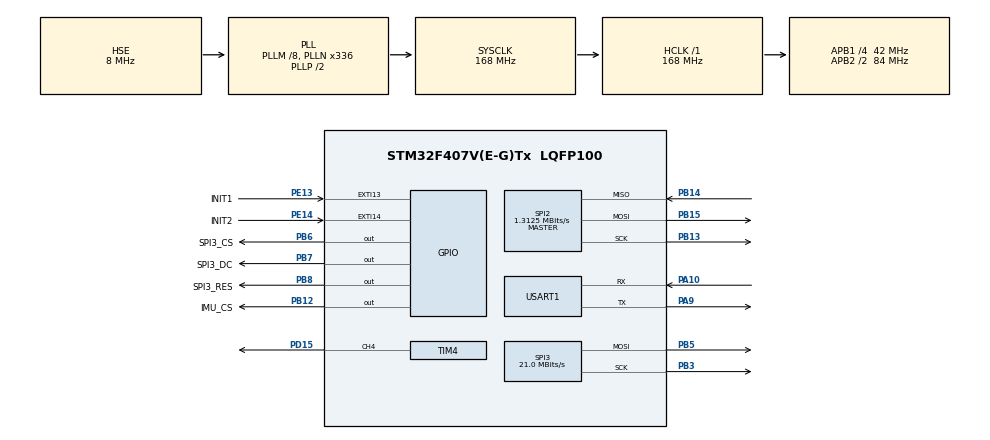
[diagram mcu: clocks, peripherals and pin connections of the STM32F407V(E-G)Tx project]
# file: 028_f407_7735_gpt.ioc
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Mcu.Family=STM32F4
Mcu.Name=STM32F407V(E-G)Tx
Mcu.Package=LQFP100
NVIC.EXTI15_10_IRQn=true\:0\:0\:false\:false\:true\:true\:true\:true
NVIC.PriorityGroup=NVIC_PRIORITYGROUP_4
PA10.Mode=Asynchronous
PA10.Signal=USART1_RX
PA13.Mode=Serial_Wire
PA13.Signal=SYS_JTMS-SWDIO
PA14.Mode=Serial_Wire
PA14.Signal=SYS_JTCK-SWCLK
PA9.Mode=Asynchronous
PA9.Signal=USART1_TX
PB12.GPIO_Label=IMU_CS
PB12.GPIO_PuPd=GPIO_PULLUP
PB12.GPIO_Speed=GPIO_SPEED_FREQ_VERY_HIGH
PB12.PinState=GPIO_PIN_SET
PB12.Signal=GPIO_Output
PB13.Mode=Full_Duplex_Master
PB13.Signal=SPI2_SCK
PB14.Mode=Full_Duplex_Master
PB14.Signal=SPI2_MISO
PB15.Mode=Full_Duplex_Master
PB15.Signal=SPI2_MOSI
PB3.Mode=TX_Only_Simplex_Unidirect_Master
PB3.Signal=SPI3_SCK
PB5.Mode=TX_Only_Simplex_Unidirect_Master
PB5.Signal=SPI3_MOSI
PB6.GPIO_Label=SPI3_CS
PB6.GPIO_Speed=GPIO_SPEED_FREQ_VERY_HIGH
PB6.PinState=GPIO_PIN_SET
PB6.Signal=GPIO_Output
PB7.GPIO_Label=SPI3_DC
PB7.GPIO_Speed=GPIO_SPEED_FREQ_VERY_HIGH
PB7.Signal=GPIO_Output
PB8.GPIO_Label=SPI3_RES
PB8.GPIO_Speed=GPIO_SPEED_FREQ_VERY_HIGH
PB8.PinState=GPIO_PIN_SET
PB8.Signal=GPIO_Output
PD15.Signal=S_TIM4_CH4
PE13.GPIO_Label=INIT1
PE13.Signal=GPXTI13
PE14.GPIO_Label=INIT2
PE14.Signal=GPXTI14
PH0-OSC_IN.Mode=HSE-External-Oscillator
PH0-OSC_IN.Signal=RCC_OSC_IN
PH1-OSC_OUT.Mode=HSE-External-Oscillator
PH1-OSC_OUT.Signal=RCC_OSC_OUT
ProjectManager.HeapSize=0x200
ProjectManager.StackSize=0x400
ProjectManager.TargetToolchain=STM32CubeIDE
RCC.48MHZClocksFreq_Value=48000000
RCC.AHBFreq_Value=168000000
RCC.APB1CLKDivider=RCC_HCLK_DIV4
RCC.APB1Freq_Value=42000000
RCC.APB1TimFreq_Value=84000000
RCC.APB2CLKDivider=RCC_HCLK_DIV2
RCC.APB2Freq_Value=84000000
RCC.APB2TimFreq_Value=168000000
RCC.CortexFreq_Value=168000000
RCC.HCLKFreq_Value=168000000
RCC.HSE_VALUE=8000000
RCC.HSI_VALUE=16000000
RCC.LSE_VALUE=32768
RCC.PLLM=8
RCC.PLLN=336
RCC.PLLQ=7
RCC.PLLSourceVirtual=RCC_PLLSOURCE_HSE
RCC.SYSCLKFreq_VALUE=168000000
RCC.SYSCLKSource=RCC_SYSCLKSOURCE_PLLCLK
RCC.VCOOutputFreq_Value=336000000
SH.S_TIM4_CH4.0=TIM4_CH4,PWM Generation4 CH4
SPI2.BaudRatePrescaler=SPI_BAUDRATEPRESCALER_32
SPI2.CLKPhase=SPI_PHASE_1EDGE
SPI2.CLKPolarity=SPI_POLARITY_LOW
SPI2.CalculateBaudRate=1.3125 MBits/s
SPI2.Direction=SPI_DIRECTION_2LINES
SPI2.Mode=SPI_MODE_MASTER
SPI2.VirtualType=VM_MASTER
SPI3.BaudRatePrescaler=SPI_BAUDRATEPRESCALER_2
SPI3.CalculateBaudRate=21.0 MBits/s
SPI3.Direction=SPI_DIRECTION_2LINES
SPI3.Mode=SPI_MODE_MASTER
SPI3.VirtualType=VM_MASTER
TIM4.Channel-PWM\ Generation4\ CH4=TIM_CHANNEL_4
TIM4.Period=999
TIM4.Prescaler=83
USART1.VirtualMode=VM_ASYNC
board=custom

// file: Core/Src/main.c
/* USER CODE BEGIN Header */
/**
  ******************************************************************************
  * @file           : main.c
  * @brief          : Main program body
  ******************************************************************************
  * @attention
  *
  * Copyright (c) 2026 STMicroelectronics.
  * All rights reserved.
  *
  * This software is licensed under terms that can be found in the LICENSE file
  * in the root directory of this software component.
  * If no LICENSE file comes with this software, it is provided AS-IS.
  *
  ******************************************************************************
  */
/* USER CODE END Header */
#include "main.h"
#include "spi.h"
#include "tim.h"
#include "usart.h"
#include "gpio.h"

/* USER CODE BEGIN Includes */
#include "lsm6dsv16x_reg.h"
#include <stdio.h>
#include "st7735.h"
#include "fonts.h"
#include <string.h>
#include "imu.h"
#include "imu_fifo.h"
#include "imu_sflp.h"
#include "display.h"
/* USER CODE END Includes */

/* USER CODE BEGIN PV */
volatile uint32_t drdy_cnt = 0;
volatile uint8_t accel_ready = 0;
volatile uint32_t accel_ready_cnt = 0;
/* USER CODE END PV */

void SystemClock_Config(void);

int main(void)
{

  /* MCU Configuration--------------------------------------------------------*/

  /* Reset of all peripherals, Initializes the Flash interface and the Systick. */
  HAL_Init();

  /* Configure the system clock */
  SystemClock_Config();

  /* Initialize all configured peripherals */
  MX_GPIO_Init();
  MX_USART1_UART_Init();
  MX_SPI3_Init();
  MX_TIM4_Init();
  MX_SPI2_Init();
  /* USER CODE BEGIN 2 */

    HAL_Delay(1);
    HAL_GPIO_WritePin(GPIOB, GPIO_PIN_12, GPIO_PIN_SET);
    HAL_Delay(1);

    // Запуск ШИМ для подсветки (обычно TIM_CHANNEL_1 или 2)
      HAL_TIM_PWM_Start(&htim4, TIM_CHANNEL_4);

      // Установка яркости на 100% (если период таймера равен 100 или 1000)
      __HAL_TIM_SET_COMPARE(&htim4, TIM_CHANNEL_4, 400);

    HAL_Delay(1);
    ST7735_Init();
    HAL_Delay(1);

    ST7735_FillScreen(ST7735_BLACK);

    imu_init();      // Настройка SPI и базовых параметров (ODR, FS)
    imu_sflp_init(); // Включение кватернионов и GBIAS

    // 1. Настройка маршрутизации прерывания на ножку INT1
  /*    lsm6dsv16x_pin_int_route_t pin_route = {0}; // Используем имя типа без цифры '1'
      // Мы говорим датчику: "Когда FIFO заполнится до Watermark, подай сигнал на INT1"
      pin_route.fifo_th = 1; // Прерывание по достижению Watermark
      lsm6dsv16x_pin_int1_route_set(&dev_ctx, &pin_route);

      // 2. Настройка того, ЧТО записывать в FIFO
      // Включаем запись данных акселерометра в FIFO (чтобы увидеть тег 02)
      lsm6dsv16x_fifo_xl_batch_set(&dev_ctx, LSM6DSV16X_XL_BATCHED_AT_120Hz);

      // --- ДОБАВЬТЕ ЭТИ СТРОКИ ДЛЯ TAG 13 ---
        uint8_t fifo_ctrl4 = 0x08; // Бит 3 отвечает за SFLP batching
        lsm6dsv16x_write_reg(&dev_ctx, 0x0A, &fifo_ctrl4, 1);
        // --------------------------------------

      // 3. Настройка FIFO (Watermark = 32, запуск режима STREAM)
      lsm6dsv16x_fifo_watermark_set(&dev_ctx, 32);
      lsm6dsv16x_fifo_mode_set(&dev_ctx, LSM6DSV16X_STREAM_MODE);
*/
    imu_fifo_init(&dev_ctx);

  /* USER CODE END 2 */
  /* Infinite loop */
    /* USER CODE BEGIN WHILE */
    uint32_t t_scr = 0;
    char d_buf[32];

    while (1)
      {
        if (fifo_irq)
        {
          fifo_irq = 0;
          imu_fifo_service(&dev_ctx); // Теперь строго внутри условия
        }

        if (HAL_GetTick() - t_scr >= 100)
        {
          t_scr = HAL_GetTick();

          // Заставляем SFLP проснуться
          uint8_t sflp_force = 0x0A;
          lsm6dsv16x_write_reg(&dev_ctx, 0x4B, &sflp_force, 1);

          display_update(imu_irq_cnt);

          uint8_t r4b_val = 0, r0a_val = 0;
          lsm6dsv16x_read_reg(&dev_ctx, 0x4B, &r4b_val, 1);
          lsm6dsv16x_read_reg(&dev_ctx, 0x0A, &r0a_val, 1);

          sprintf(d_buf, "R4B:%02X R0A:%02X", r4b_val, r0a_val);
          ST7735_WriteString(10, 110, d_buf, Font_7x10, ST7735_YELLOW, ST7735_BLACK);
        }

    /* USER CODE END WHILE */
      }

  }
void SystemClock_Config(void)
{
  RCC_OscInitTypeDef RCC_OscInitStruct = {0};
  RCC_ClkInitTypeDef RCC_ClkInitStruct = {0};

  /** Configure the main internal regulator output voltage
  */
  __HAL_RCC_PWR_CLK_ENABLE();
  __HAL_PWR_VOLTAGESCALING_CONFIG(PWR_REGULATOR_VOLTAGE_SCALE1);

  /** Initializes the RCC Oscillators according to the specified parameters
  * in the RCC_OscInitTypeDef structure.
  */
  RCC_OscInitStruct.OscillatorType = RCC_OSCILLATORTYPE_HSE;
  RCC_OscInitStruct.HSEState = RCC_HSE_ON;
  RCC_OscInitStruct.PLL.PLLState = RCC_PLL_ON;
  RCC_OscInitStruct.PLL.PLLSource = RCC_PLLSOURCE_HSE;
  RCC_OscInitStruct.PLL.PLLM = 8;
  RCC_OscInitStruct.PLL.PLLN = 336;
  RCC_OscInitStruct.PLL.PLLP = RCC_PLLP_DIV2;
  RCC_OscInitStruct.PLL.PLLQ = 7;
  if (HAL_RCC_OscConfig(&RCC_OscInitStruct) != HAL_OK)
  {
    Error_Handler();
  }
  /** Initializes the CPU, AHB and APB buses clocks
  */
  RCC_ClkInitStruct.ClockType = RCC_CLOCKTYPE_HCLK|RCC_CLOCKTYPE_SYSCLK
                              |RCC_CLOCKTYPE_PCLK1|RCC_CLOCKTYPE_PCLK2;
  RCC_ClkInitStruct.SYSCLKSource = RCC_SYSCLKSOURCE_PLLCLK;
  RCC_ClkInitStruct.AHBCLKDivider = RCC_SYSCLK_DIV1;
  RCC_ClkInitStruct.APB1CLKDivider = RCC_HCLK_DIV4;
  RCC_ClkInitStruct.APB2CLKDivider = RCC_HCLK_DIV2;

  if (HAL_RCC_ClockConfig(&RCC_ClkInitStruct, FLASH_LATENCY_5) != HAL_OK)
  {
    Error_Handler();
  }
}
/* USER CODE BEGIN 4 */
void HAL_GPIO_EXTI_Callback(uint16_t GPIO_Pin)
{
    if (GPIO_Pin == GPIO_PIN_13)  // PE13 = INT1 от LSM6DSV16X
    {
 //       accel_ready = 1;          // Флаг: новые данные готовы
    	fifo_irq = 1;
    	imu_irq_cnt++;            // Счётчик прерываний
    }
    if (GPIO_Pin == GPIO_PIN_14)      // INT2 (пока не используется)
    {
 //       qvar_irq_cnt++;
    }
}
/* USER CODE END 4 */

void Error_Handler(void)
{
  __disable_irq();
  while (1)
  {
  }
}
